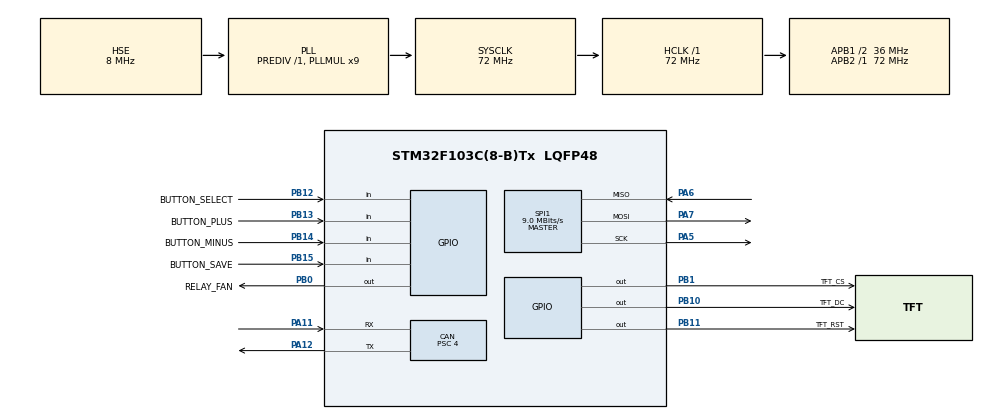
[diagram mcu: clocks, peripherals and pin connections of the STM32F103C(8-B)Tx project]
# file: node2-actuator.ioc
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CAN.ABOM=ENABLE
CAN.BS1=CAN_BS1_15TQ
CAN.BS2=CAN_BS2_2TQ
CAN.CalculateBaudRate=500000
CAN.CalculateTimeBit=2000
CAN.CalculateTimeQuantum=111.11111111111111
CAN.Prescaler=4
FREERTOS.INCLUDE_uxTaskGetStackHighWaterMark=1
FREERTOS.INCLUDE_vTaskDelayUntil=1
FREERTOS.Tasks01=defaultTask,0,128,StartDefaultTask,Default,NULL,Dynamic,NULL,NULL
FREERTOS.configCHECK_FOR_STACK_OVERFLOW=2
FREERTOS.configTOTAL_HEAP_SIZE=6144
FREERTOS.configUSE_NEWLIB_REENTRANT=1
Mcu.Family=STM32F1
Mcu.Name=STM32F103C(8-B)Tx
Mcu.Package=LQFP48
NVIC.PriorityGroup=NVIC_PRIORITYGROUP_4
NVIC.TIM4_IRQn=true\:15\:0\:false\:false\:true\:false\:false\:true\:true
NVIC.TimeBase=TIM4_IRQn
NVIC.TimeBaseIP=TIM4
NVIC.USB_LP_CAN1_RX0_IRQn=true\:5\:0\:true\:false\:true\:true\:true\:true\:true
PA11.Mode=CAN_Activate
PA11.Signal=CAN_RX
PA12.Mode=CAN_Activate
PA12.Signal=CAN_TX
PA13.Mode=Serial_Wire
PA13.Signal=SYS_JTMS-SWDIO
PA14.Mode=Serial_Wire
PA14.Signal=SYS_JTCK-SWCLK
PA5.Mode=Full_Duplex_Master
PA5.Signal=SPI1_SCK
PA6.Mode=Full_Duplex_Master
PA6.Signal=SPI1_MISO
PA7.Mode=Full_Duplex_Master
PA7.Signal=SPI1_MOSI
PB0.GPIO_Label=RELAY_FAN
PB0.GPIO_Speed=GPIO_SPEED_FREQ_LOW
PB0.PinState=GPIO_PIN_RESET
PB0.Signal=GPIO_Output
PB1.GPIO_Label=TFT_CS
PB1.GPIO_Speed=GPIO_SPEED_FREQ_HIGH
PB1.PinState=GPIO_PIN_SET
PB1.Signal=GPIO_Output
PB10.GPIO_Label=TFT_DC
PB10.GPIO_Speed=GPIO_SPEED_FREQ_HIGH
PB10.Signal=GPIO_Output
PB11.GPIO_Label=TFT_RST
PB11.GPIO_Speed=GPIO_SPEED_FREQ_HIGH
PB11.PinState=GPIO_PIN_SET
PB11.Signal=GPIO_Output
PB12.GPIO_Label=BUTTON_SELECT
PB12.GPIO_PuPd=GPIO_PULLUP
PB12.Signal=GPIO_Input
PB13.GPIO_Label=BUTTON_PLUS
PB13.GPIO_PuPd=GPIO_PULLUP
PB13.Signal=GPIO_Input
PB14.GPIO_Label=BUTTON_MINUS
PB14.GPIO_PuPd=GPIO_PULLUP
PB14.Signal=GPIO_Input
PB15.GPIO_Label=BUTTON_SAVE
PB15.GPIO_PuPd=GPIO_PULLUP
PB15.Signal=GPIO_Input
PD0-OSC_IN.Mode=HSE-External-Oscillator
PD0-OSC_IN.Signal=RCC_OSC_IN
PD1-OSC_OUT.Mode=HSE-External-Oscillator
PD1-OSC_OUT.Signal=RCC_OSC_OUT
ProjectManager.HeapSize=0x200
ProjectManager.StackSize=0x400
ProjectManager.TargetToolchain=STM32CubeIDE
RCC.AHBFreq_Value=72000000
RCC.APB1CLKDivider=RCC_HCLK_DIV2
RCC.APB1Freq_Value=36000000
RCC.APB1TimFreq_Value=72000000
RCC.APB2Freq_Value=72000000
RCC.APB2TimFreq_Value=72000000
RCC.HCLKFreq_Value=72000000
RCC.PLLMUL=RCC_PLL_MUL9
RCC.PLLSourceVirtual=RCC_PLLSOURCE_HSE
RCC.SYSCLKFreq_VALUE=72000000
RCC.SYSCLKSource=RCC_SYSCLKSOURCE_PLLCLK
RCC.USBFreq_Value=72000000
SPI1.BaudRatePrescaler=SPI_BAUDRATEPRESCALER_8
SPI1.CalculateBaudRate=9.0 MBits/s
SPI1.Direction=SPI_DIRECTION_2LINES
SPI1.Mode=SPI_MODE_MASTER
SPI1.VirtualType=VM_MASTER
VP_FREERTOS_VS_CMSIS_V1.Mode=CMSIS_V1
VP_SYS_VS_tim4.Mode=TIM4
board=custom

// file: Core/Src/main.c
/* USER CODE BEGIN Header */
/* USER CODE END Header */
#include "main.h"
#include "cmsis_os.h"

/* USER CODE BEGIN Includes */
#include "app_ipc.h"
#include "bsp_board.h"
#include "hal_can.h"
#include "task_actuator.h"
/* USER CODE END Includes */

CAN_HandleTypeDef hcan;

SPI_HandleTypeDef hspi1;

osThreadId defaultTaskHandle;

void SystemClock_Config(void);
static void MX_GPIO_Init(void);
static void MX_SPI1_Init(void);
static void MX_CAN_Init(void);
void StartDefaultTask(void const * argument);

int main(void)
{

  /* MCU Configuration--------------------------------------------------------*/

  /* Reset of all peripherals, Initializes the Flash interface and the Systick. */
  HAL_Init();

  /* USER CODE BEGIN Init */
    bsp_board_set_init_step(BOARD_ERR_OSCILLATOR);
  /* USER CODE END Init */

  /* Configure the system clock */
  SystemClock_Config();

  /* Initialize all configured peripherals */
  MX_GPIO_Init();
  MX_SPI1_Init();
  MX_CAN_Init();
  /* USER CODE BEGIN 2 */
    bsp_board_init();
  /* USER CODE END 2 */

  /* USER CODE BEGIN RTOS_QUEUES */
    if (!app_ipc_init()) {
        bsp_board_fail(BOARD_ERR_QUEUE);
    }
  /* USER CODE END RTOS_QUEUES */

  /* Create the thread(s) */
  /* definition and creation of defaultTask */
  osThreadDef(defaultTask, StartDefaultTask, osPriorityNormal, 0, 128);
  defaultTaskHandle = osThreadCreate(osThread(defaultTask), NULL);

  /* USER CODE BEGIN RTOS_THREADS */
    if (task_actuator_create() != pdPASS) {
        bsp_board_fail(BOARD_ERR_TASK);
    }
  /* USER CODE END RTOS_THREADS */

  /* Start scheduler */
  osKernelStart();

  /* We should never get here as control is now taken by the scheduler */

  /* Infinite loop */
  /* USER CODE BEGIN WHILE */
    bsp_board_fail(BOARD_ERR_SCHEDULER);

    while (1) {
    /* USER CODE END WHILE */

    }
}

void SystemClock_Config(void)
{
  RCC_OscInitTypeDef RCC_OscInitStruct = {0};
  RCC_ClkInitTypeDef RCC_ClkInitStruct = {0};

  /** Initializes the RCC Oscillators according to the specified parameters
  * in the RCC_OscInitTypeDef structure.
  */
  RCC_OscInitStruct.OscillatorType = RCC_OSCILLATORTYPE_HSE;
  RCC_OscInitStruct.HSEState = RCC_HSE_ON;
  RCC_OscInitStruct.HSEPredivValue = RCC_HSE_PREDIV_DIV1;
  RCC_OscInitStruct.HSIState = RCC_HSI_ON;
  RCC_OscInitStruct.PLL.PLLState = RCC_PLL_ON;
  RCC_OscInitStruct.PLL.PLLSource = RCC_PLLSOURCE_HSE;
  RCC_OscInitStruct.PLL.PLLMUL = RCC_PLL_MUL9;
  if (HAL_RCC_OscConfig(&RCC_OscInitStruct) != HAL_OK)
  {
    Error_Handler();
  }

  /** Initializes the CPU, AHB and APB buses clocks
  */
  RCC_ClkInitStruct.ClockType = RCC_CLOCKTYPE_HCLK|RCC_CLOCKTYPE_SYSCLK
                              |RCC_CLOCKTYPE_PCLK1|RCC_CLOCKTYPE_PCLK2;
  RCC_ClkInitStruct.SYSCLKSource = RCC_SYSCLKSOURCE_PLLCLK;
  RCC_ClkInitStruct.AHBCLKDivider = RCC_SYSCLK_DIV1;
  RCC_ClkInitStruct.APB1CLKDivider = RCC_HCLK_DIV2;
  RCC_ClkInitStruct.APB2CLKDivider = RCC_HCLK_DIV1;

  if (HAL_RCC_ClockConfig(&RCC_ClkInitStruct, FLASH_LATENCY_2) != HAL_OK)
  {
    Error_Handler();
  }
}

static void MX_CAN_Init(void)
{

  /* USER CODE BEGIN CAN_Init 0 */
    bsp_board_set_init_step(BOARD_ERR_CAN_INIT);
  /* USER CODE END CAN_Init 0 */

  hcan.Instance = CAN1;
  hcan.Init.Prescaler = 4;
  hcan.Init.Mode = CAN_MODE_NORMAL;
  hcan.Init.SyncJumpWidth = CAN_SJW_1TQ;
  hcan.Init.TimeSeg1 = CAN_BS1_15TQ;
  hcan.Init.TimeSeg2 = CAN_BS2_2TQ;
  hcan.Init.TimeTriggeredMode = DISABLE;
  hcan.Init.AutoBusOff = ENABLE;
  hcan.Init.AutoWakeUp = DISABLE;
  hcan.Init.AutoRetransmission = DISABLE;
  hcan.Init.ReceiveFifoLocked = DISABLE;
  hcan.Init.TransmitFifoPriority = DISABLE;
  if (HAL_CAN_Init(&hcan) != HAL_OK)
  {
    Error_Handler();
  }

}

static void MX_SPI1_Init(void)
{

  /* USER CODE BEGIN SPI1_Init 0 */
    bsp_board_set_init_step(BOARD_ERR_SPI_INIT);
  /* USER CODE END SPI1_Init 0 */

  /* SPI1 parameter configuration*/
  hspi1.Instance = SPI1;
  hspi1.Init.Mode = SPI_MODE_MASTER;
  hspi1.Init.Direction = SPI_DIRECTION_2LINES;
  hspi1.Init.DataSize = SPI_DATASIZE_8BIT;
  hspi1.Init.CLKPolarity = SPI_POLARITY_LOW;
  hspi1.Init.CLKPhase = SPI_PHASE_1EDGE;
  hspi1.Init.NSS = SPI_NSS_SOFT;
  hspi1.Init.BaudRatePrescaler = SPI_BAUDRATEPRESCALER_8;
  hspi1.Init.FirstBit = SPI_FIRSTBIT_MSB;
  hspi1.Init.TIMode = SPI_TIMODE_DISABLE;
  hspi1.Init.CRCCalculation = SPI_CRCCALCULATION_DISABLE;
  hspi1.Init.CRCPolynomial = 10;
  if (HAL_SPI_Init(&hspi1) != HAL_OK)
  {
    Error_Handler();
  }

}

static void MX_GPIO_Init(void)
{
  GPIO_InitTypeDef GPIO_InitStruct = {0};

  /* GPIO Ports Clock Enable */
  __HAL_RCC_GPIOD_CLK_ENABLE();
  __HAL_RCC_GPIOA_CLK_ENABLE();
  __HAL_RCC_GPIOB_CLK_ENABLE();

  /*Configure GPIO pin Output Level */
  HAL_GPIO_WritePin(GPIOB, RELAY_FAN_Pin|TFT_DC_Pin, GPIO_PIN_RESET);

  /*Configure GPIO pin Output Level */
  HAL_GPIO_WritePin(GPIOB, TFT_CS_Pin|TFT_RST_Pin, GPIO_PIN_SET);

  /*Configure GPIO pin : RELAY_FAN_Pin */
  GPIO_InitStruct.Pin = RELAY_FAN_Pin;
  GPIO_InitStruct.Mode = GPIO_MODE_OUTPUT_PP;
  GPIO_InitStruct.Pull = GPIO_NOPULL;
  GPIO_InitStruct.Speed = GPIO_SPEED_FREQ_LOW;
  HAL_GPIO_Init(RELAY_FAN_GPIO_Port, &GPIO_InitStruct);

  /*Configure GPIO pins : TFT_CS_Pin TFT_DC_Pin TFT_RST_Pin */
  GPIO_InitStruct.Pin = TFT_CS_Pin|TFT_DC_Pin|TFT_RST_Pin;
  GPIO_InitStruct.Mode = GPIO_MODE_OUTPUT_PP;
  GPIO_InitStruct.Pull = GPIO_NOPULL;
  GPIO_InitStruct.Speed = GPIO_SPEED_FREQ_HIGH;
  HAL_GPIO_Init(GPIOB, &GPIO_InitStruct);

  /*Configure GPIO pins : BUTTON_SELECT_Pin BUTTON_PLUS_Pin BUTTON_MINUS_Pin BUTTON_SAVE_Pin */
  GPIO_InitStruct.Pin = BUTTON_SELECT_Pin|BUTTON_PLUS_Pin|BUTTON_MINUS_Pin|BUTTON_SAVE_Pin;
  GPIO_InitStruct.Mode = GPIO_MODE_INPUT;
  GPIO_InitStruct.Pull = GPIO_PULLUP;
  HAL_GPIO_Init(GPIOB, &GPIO_InitStruct);

}

void StartDefaultTask(void const * argument)
{
  /* USER CODE BEGIN 5 */
    (void)argument;
    vTaskDelete(NULL);
  /* USER CODE END 5 */
}

void HAL_TIM_PeriodElapsedCallback(TIM_HandleTypeDef *htim)
{
  if (htim->Instance == TIM4)
  {
    HAL_IncTick();
  }
}

void Error_Handler(void)
{
  /* USER CODE BEGIN Error_Handler_Debug */
    g_canError = HAL_CAN_GetError(&hcan);
    bsp_board_record_error();

    __disable_irq();
    while (1) {
    }
  /* USER CODE END Error_Handler_Debug */
}
